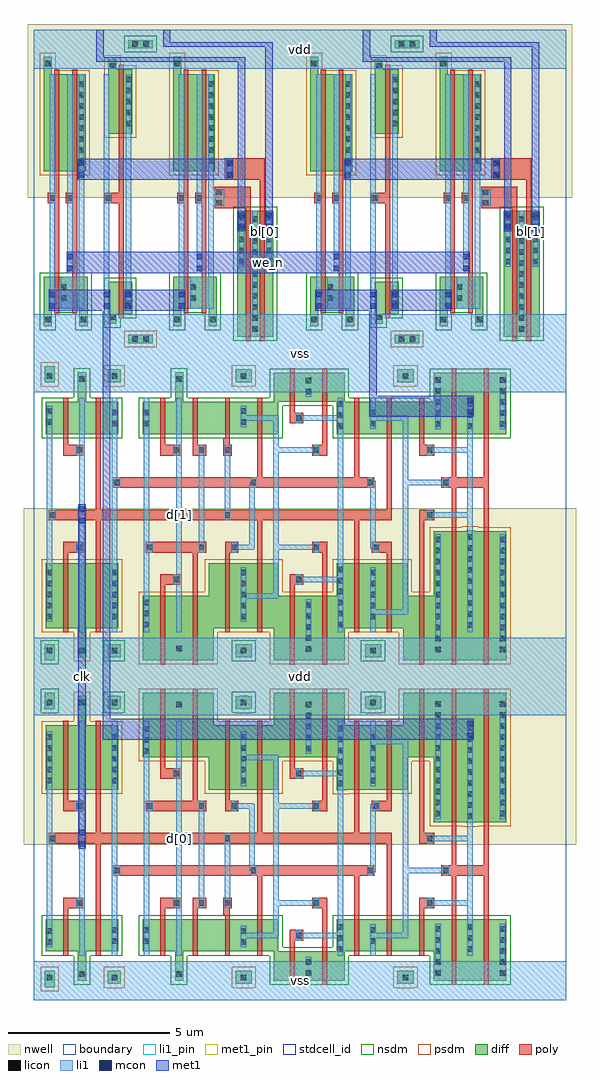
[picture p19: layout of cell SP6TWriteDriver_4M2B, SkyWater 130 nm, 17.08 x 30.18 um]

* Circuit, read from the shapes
.subckt SP6TWriteDriver_4M2B bl[0] bl[1] bl_n[0] bl_n[1] clk d[0] d[1] vdd vss we_n
XM1 nor2_x0_1/nq inv_x0_2/i vss VSUBS sky130_fd_pr__nfet_01v8 w=1 l=0.15
XM2 vss clk n1 VSUBS sky130_fd_pr__nfet_01v8 w=1 l=0.15
XM3 vss clk n2 VSUBS sky130_fd_pr__nfet_01v8 w=1 l=0.15
XM4 vss we_n nor2_x0_1/nq VSUBS sky130_fd_pr__nfet_01v8 w=1 l=0.15
XM5 n3 n1 vss VSUBS sky130_fd_pr__nfet_01v8 w=1 l=0.15
XM6 n4 n2 vss VSUBS sky130_fd_pr__nfet_01v8 w=1 l=0.15
XM7 nor2_x0_3/i0 inv_x0_2/i vss VSUBS sky130_fd_pr__nfet_01v8 w=1 l=0.15
XM8 vss d[0] n5 VSUBS sky130_fd_pr__nfet_01v8 w=1 l=0.15
XM9 vss d[1] n6 VSUBS sky130_fd_pr__nfet_01v8 w=1 l=0.15
XM10 nor2_x0_3/nq nor2_x0_3/i0 vss VSUBS sky130_fd_pr__nfet_01v8 w=1 l=0.15
XM11 n7 n5 vss VSUBS sky130_fd_pr__nfet_01v8 w=1 l=0.15
XM12 n8 n6 vss VSUBS sky130_fd_pr__nfet_01v8 w=1 l=0.15
XM13 vss we_n nor2_x0_3/nq VSUBS sky130_fd_pr__nfet_01v8 w=1 l=0.15
XM14 n9 n1 n7 VSUBS sky130_fd_pr__nfet_01v8 w=1 l=0.15
XM15 n10 n2 n8 VSUBS sky130_fd_pr__nfet_01v8 w=1 l=0.15
XM16 vss nor2_x0_3/nq bl_n[0] VSUBS sky130_fd_pr__nfet_01v8 w=3.9 l=0.15
XM17 n11 n3 n9 VSUBS sky130_fd_pr__nfet_01v8 w=1 l=0.15
XM18 n12 n4 n10 VSUBS sky130_fd_pr__nfet_01v8 w=1 l=0.15
XM19 bl[0] nor2_x0_1/nq vss VSUBS sky130_fd_pr__nfet_01v8 w=3.9 l=0.15
XM20 vss n13 n11 VSUBS sky130_fd_pr__nfet_01v8 w=0.9 l=0.15
XM21 vss n14 n12 VSUBS sky130_fd_pr__nfet_01v8 w=0.9 l=0.15
XM22 nor2_x0_5/nq inv_x0_6/i vss VSUBS sky130_fd_pr__nfet_01v8 w=1 l=0.15
XM23 n13 n9 vss VSUBS sky130_fd_pr__nfet_01v8 w=0.9 l=0.15
XM24 n14 n10 vss VSUBS sky130_fd_pr__nfet_01v8 w=0.9 l=0.15
XM25 vss we_n nor2_x0_5/nq VSUBS sky130_fd_pr__nfet_01v8 w=1 l=0.15
XM26 n15 n3 n13 VSUBS sky130_fd_pr__nfet_01v8 w=1 l=0.15
XM27 n16 n4 n14 VSUBS sky130_fd_pr__nfet_01v8 w=1 l=0.15
XM28 nor2_x0_7/i0 inv_x0_6/i vss VSUBS sky130_fd_pr__nfet_01v8 w=1 l=0.15
XM29 n17 n1 n15 VSUBS sky130_fd_pr__nfet_01v8 w=1 l=0.15
XM30 n18 n2 n16 VSUBS sky130_fd_pr__nfet_01v8 w=1 l=0.15
XM31 vss inv_x0_2/i n17 VSUBS sky130_fd_pr__nfet_01v8 w=1 l=0.15
XM32 vss inv_x0_6/i n18 VSUBS sky130_fd_pr__nfet_01v8 w=1 l=0.15
XM33 nor2_x0_7/nq nor2_x0_7/i0 vss VSUBS sky130_fd_pr__nfet_01v8 w=1 l=0.15
XM34 inv_x0_2/i n15 vss VSUBS sky130_fd_pr__nfet_01v8 w=1.9 l=0.15 m=2
XM35 inv_x0_6/i n16 vss VSUBS sky130_fd_pr__nfet_01v8 w=1.9 l=0.15 m=2
XM36 vss we_n nor2_x0_7/nq VSUBS sky130_fd_pr__nfet_01v8 w=1 l=0.15
XM37 vss nor2_x0_7/nq bl_n[1] VSUBS sky130_fd_pr__nfet_01v8 w=3.9 l=0.15
XM38 bl[1] nor2_x0_5/nq vss VSUBS sky130_fd_pr__nfet_01v8 w=3.9 l=0.15
XM39 n19 inv_x0_2/i vdd n20 sky130_fd_pr__pfet_01v8 w=3 l=0.15
XM40 vdd clk n1 n21 sky130_fd_pr__pfet_01v8 w=2 l=0.15
XM41 vdd clk n2 n21 sky130_fd_pr__pfet_01v8 w=2 l=0.15
XM42 nor2_x0_1/nq we_n n19 n20 sky130_fd_pr__pfet_01v8 w=3 l=0.15
XM43 n3 n1 vdd n21 sky130_fd_pr__pfet_01v8 w=2 l=0.15
XM44 n4 n2 vdd n21 sky130_fd_pr__pfet_01v8 w=2 l=0.15
XM45 nor2_x0_3/i0 inv_x0_2/i vdd n20 sky130_fd_pr__pfet_01v8 w=2 l=0.15
XM46 vdd d[0] n5 n21 sky130_fd_pr__pfet_01v8 w=2 l=0.15
XM47 vdd d[1] n6 n21 sky130_fd_pr__pfet_01v8 w=2 l=0.15
XM48 n22 nor2_x0_3/i0 vdd n20 sky130_fd_pr__pfet_01v8 w=3 l=0.15
XM49 n23 n5 vdd n21 sky130_fd_pr__pfet_01v8 w=2 l=0.15
XM50 n24 n6 vdd n21 sky130_fd_pr__pfet_01v8 w=2 l=0.15
XM51 nor2_x0_3/nq we_n n22 n20 sky130_fd_pr__pfet_01v8 w=3 l=0.15
XM52 n9 n3 n23 n21 sky130_fd_pr__pfet_01v8 w=2 l=0.15
XM53 n10 n4 n24 n21 sky130_fd_pr__pfet_01v8 w=2 l=0.15
XM54 n25 n1 n9 n21 sky130_fd_pr__pfet_01v8 w=2 l=0.15
XM55 n26 n2 n10 n21 sky130_fd_pr__pfet_01v8 w=2 l=0.15
XM56 vdd n13 n25 n21 sky130_fd_pr__pfet_01v8 w=2 l=0.15
XM57 vdd n14 n26 n21 sky130_fd_pr__pfet_01v8 w=2 l=0.15
XM58 n27 inv_x0_6/i vdd n20 sky130_fd_pr__pfet_01v8 w=3 l=0.15
XM59 n13 n9 vdd n21 sky130_fd_pr__pfet_01v8 w=2 l=0.15
XM60 n14 n10 vdd n21 sky130_fd_pr__pfet_01v8 w=2 l=0.15
XM61 nor2_x0_5/nq we_n n27 n20 sky130_fd_pr__pfet_01v8 w=3 l=0.15
XM62 n15 n1 n13 n21 sky130_fd_pr__pfet_01v8 w=2 l=0.15
XM63 n16 n2 n14 n21 sky130_fd_pr__pfet_01v8 w=2 l=0.15
XM64 nor2_x0_7/i0 inv_x0_6/i vdd n20 sky130_fd_pr__pfet_01v8 w=2 l=0.15
XM65 n28 n3 n15 n21 sky130_fd_pr__pfet_01v8 w=2 l=0.15
XM66 n29 n4 n16 n21 sky130_fd_pr__pfet_01v8 w=2 l=0.15
XM67 vdd inv_x0_2/i n28 n21 sky130_fd_pr__pfet_01v8 w=2 l=0.15
XM68 vdd inv_x0_6/i n29 n21 sky130_fd_pr__pfet_01v8 w=2 l=0.15
XM69 n30 nor2_x0_7/i0 vdd n20 sky130_fd_pr__pfet_01v8 w=3 l=0.15
XM70 inv_x0_2/i n15 vdd n21 sky130_fd_pr__pfet_01v8 w=4 l=0.15 m=2
XM71 inv_x0_6/i n16 vdd n21 sky130_fd_pr__pfet_01v8 w=4 l=0.15 m=2
XM72 nor2_x0_7/nq we_n n30 n20 sky130_fd_pr__pfet_01v8 w=3 l=0.15
.ends

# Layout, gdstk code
import gdstk
lib = gdstk.Library(unit=1e-6, precision=1e-09)
def R(c, l, rs):  # rectangles x0, y0, x1, y1
    for r in rs: c.add(gdstk.rectangle(r[:2], r[2:], *l))
def A(c, l, x, y, w, h, nx, ny, dx, dy):  # array of equal rectangles
    R(c, l, [(x+i*dx, y+j*dy, x+i*dx+w, y+j*dy+h) for i in range(nx) for j in range(ny)])
def P(c, l, *ps):  # polygons
    for p in ps: c.add(gdstk.Polygon(p, *l))
nwell = (64, 20)
diff = (65, 20)
poly = (66, 20)
licon = (66, 44)
li1_pin = (67, 16)
li1 = (67, 20)
mcon = (67, 44)
met1_pin = (68, 16)
met1 = (68, 20)
stdcell_id = (81, 4)
nsdm = (93, 44)
psdm = (94, 20)
boundary = (235, 4)

sff1_x4 = lib.new_cell('sff1_x4')
R(sff1_x4, nwell, [(-0.3,4.8,15.3,10.8)])
P(sff1_x4, diff, [(0.375,6.5),(0.375,8.5),(1.375,8.5),(1.375,9.405),(1.625,9.405),(1.625,8.5),(2.625,8.5),(2.625,6.5)],
  [(1.375,0.595),(1.375,1.5),(0.375,1.5),(0.375,2.5),(2.625,2.5),(2.625,1.5),(1.625,1.5),(1.625,0.595)],
  [(13.375,5.48),(13.375,5.5),(12.375,5.5),(12.375,7.5),(11.575,7.5),(11.575,6.5),(9.625,6.5),(9.625,6.49),(9.375,6.49),(9.375,7.5),(7.575,7.5),(7.575,6.5),(5.425,6.5),(5.425,7.5),(3.375,7.5),(3.375,9.5),(5.575,9.5),(5.575,8.5),(7.425,8.5),(7.425,9.5),(9.625,9.5),(9.625,8.5),(11.425,8.5),(11.425,9.5),(14.625,9.5),(14.625,5.5),(13.625,5.5),(13.625,5.48)],
  [(6.375,8.995),(6.375,9),(6.25,9),(6.25,9.4),(6.375,9.4),(6.375,9.405),(6.625,9.405),(6.625,9.4),(6.75,9.4),(6.75,9),(6.625,9),(6.625,8.995)],
  [(2.375,8.995),(2.375,9),(2.3,9),(2.3,9.4),(2.375,9.4),(2.375,9.405),(2.625,9.405),(2.625,9.4),(2.7,9.4),(2.7,9),(2.625,9),(2.625,8.995)],
  [(0.375,8.995),(0.375,9),(0.35,9),(0.35,9.5),(0.65,9.5),(0.65,9),(0.625,9),(0.625,8.995)],
  [(10.375,8.995),(10.375,9),(10.25,9),(10.25,9.4),(10.375,9.4),(10.375,9.405),(10.625,9.405),(10.625,9.4),(10.75,9.4),(10.75,9),(10.625,9),(10.625,8.995)],
  [(4.375,0.595),(4.375,1.5),(3.375,1.5),(3.375,2.5),(7.575,2.5),(7.575,1.5),(9.375,1.5),(9.375,2.5),(14.625,2.5),(14.625,0.6),(12.375,0.6),(12.375,1.5),(9.625,1.5),(9.625,0.6),(7.425,0.6),(7.425,1.5),(4.625,1.5),(4.625,0.595)],
  [(6.375,0.495),(6.375,0.5),(6.25,0.5),(6.25,0.9),(6.375,0.9),(6.375,0.905),(6.625,0.905),(6.625,0.9),(6.75,0.9),(6.75,0.5),(6.625,0.5),(6.625,0.495)],
  [(2.375,0.495),(2.375,0.5),(2.3,0.5),(2.3,0.9),(2.375,0.9),(2.375,0.905),(2.625,0.905),(2.625,0.9),(2.7,0.9),(2.7,0.5),(2.625,0.5),(2.625,0.495)],
  [(11.375,0.495),(11.375,0.5),(11.25,0.5),(11.25,0.9),(11.375,0.9),(11.375,0.905),(11.625,0.905),(11.625,0.9),(11.75,0.9),(11.75,0.5),(11.625,0.5),(11.625,0.495)],
  [(0.35,0.4),(0.35,0.9),(0.375,0.9),(0.375,0.905),(0.625,0.905),(0.625,0.9),(0.65,0.9),(0.65,0.4)])
P(sff1_x4, poly, [(5.925,1.37),(5.925,2.63),(5.865,2.63),(5.865,3.165),(6.135,3.165),(6.135,2.835),(6.075,2.835),(6.075,1.37)],
  [(1.925,1.37),(1.925,4.835),(0.465,4.835),(0.465,5.165),(1.925,5.165),(1.925,8.63),(2.075,8.63),(2.075,5.165),(6.925,5.165),(6.925,8.63),(7.075,8.63),(7.075,5.165),(9.925,5.165),(9.925,8.63),(10.075,8.63),(10.075,5.165),(11.075,5.165),(11.075,1.37),(10.925,1.37),(10.925,4.835),(2.075,4.835),(2.075,1.37)],
  [(0.925,5.835),(0.925,8.63),(1.075,8.63),(1.075,6.165),(1.535,6.165),(1.535,5.835)],
  [(0.925,1.37),(0.925,3.165),(1.535,3.165),(1.535,2.835),(1.075,2.835),(1.075,1.37)],
  [(8.925,0.47),(8.925,2.835),(8.615,2.835),(8.615,3.165),(9.075,3.165),(9.075,0.47)],
  [(8.615,5.835),(8.615,6.165),(8.925,6.165),(8.925,9.63),(9.075,9.63),(9.075,5.835)],
  [(5.925,5.835),(5.925,8.63),(6.075,8.63),(6.075,6.165),(6.335,6.165),(6.335,5.835)],
  [(10.465,5.835),(10.465,6.165),(10.925,6.165),(10.925,8.63),(11.075,8.63),(11.075,5.835)],
  [(6.925,1.37),(6.925,3.835),(2.465,3.835),(2.465,4.165),(10.535,4.165),(10.535,3.835),(10.075,3.835),(10.075,1.37),(9.925,1.37),(9.925,3.835),(7.075,3.835),(7.075,1.37)],
  [(7.925,0.47),(7.925,2.165),(8.335,2.165),(8.335,1.835),(8.075,1.835),(8.075,0.47)],
  [(7.925,6.835),(7.925,9.63),(8.075,9.63),(8.075,7.165),(8.335,7.165),(8.335,6.835)],
  [(12.925,0.47),(12.925,3.835),(12.615,3.835),(12.615,4.165),(12.925,4.165),(12.925,9.63),(13.075,9.63),(13.075,4.165),(13.925,4.165),(13.925,9.63),(14.075,9.63),(14.075,0.47),(13.925,0.47),(13.925,3.835),(13.075,3.835),(13.075,0.47)],
  [(3.465,5.835),(3.465,6.165),(4.925,6.165),(4.925,9.63),(5.075,9.63),(5.075,6.165),(5.335,6.165),(5.335,5.835)],
  [(4.925,1.37),(4.925,3.165),(5.335,3.165),(5.335,2.835),(5.075,2.835),(5.075,1.37)],
  [(3.925,6.835),(3.925,9.63),(4.075,9.63),(4.075,7.165),(4.535,7.165),(4.535,6.835)],
  [(3.925,1.37),(3.925,3.165),(4.535,3.165),(4.535,2.835),(4.075,2.835),(4.075,1.37)],
  [(11.925,1.37),(11.925,3.165),(12.385,3.165),(12.385,2.835),(12.075,2.835),(12.075,1.37)],
  [(11.925,4.835),(11.925,9.63),(12.075,9.63),(12.075,5.165),(12.385,5.165),(12.385,4.835)])
A(sff1_x4, licon, 12.415, 0.745, 0.17, 0.17, 1, 5, 0, 0.34)
A(sff1_x4, licon, 14.415, 0.745, 0.17, 0.17, 1, 5, 0, 0.34)
A(sff1_x4, licon, 9.415, 1.49, 0.17, 0.17, 1, 3, 0, 0.34)
A(sff1_x4, licon, 13.415, 1.49, 0.17, 0.17, 1, 3, 0, 0.34)
A(sff1_x4, licon, 4.315, 2.915, 0.17, 0.17, 3, 1, 0.8, 0)
A(sff1_x4, licon, 13.415, 5.6, 0.17, 0.17, 1, 9, 0, 0.34)
A(sff1_x4, licon, 12.415, 5.675, 0.17, 0.17, 1, 11, 0, 0.34)
A(sff1_x4, licon, 14.415, 5.675, 0.17, 0.17, 1, 11, 0, 0.34)
A(sff1_x4, licon, 9.415, 6.61, 0.17, 0.17, 1, 6, 0, 0.34)
A(sff1_x4, licon, 0.415, 6.695, 0.17, 0.17, 1, 5, 0, 0.34)
A(sff1_x4, licon, 2.415, 6.695, 0.17, 0.17, 3, 5, 4, 0.34)
A(sff1_x4, licon, 3.415, 7.62, 0.17, 0.17, 1, 3, 0, 0.34)
A(sff1_x4, licon, 8.415, 7.695, 0.17, 0.17, 1, 5, 0, 0.34)
A(sff1_x4, licon, 0.415, 9.115, 0.17, 0.17, 3, 1, 1, 0)
R(sff1_x4, licon, [(0.415,0.615,0.585,0.785), (2.415,0.615,2.585,0.785), (6.415,0.615,6.585,0.785), (11.415,0.615,11.585,0.785), (1.415,0.715,1.585,0.885), (4.415,0.715,4.585,0.885), (8.415,0.755,8.585,0.925), (8.415,1.095,8.585,1.265), (0.415,1.705,0.585,1.875), (6.415,1.705,6.585,1.875), (2.415,1.745,2.585,1.915), (3.415,1.745,3.585,1.915), (10.415,1.745,10.585,1.915), (8.115,1.915,8.285,2.085), (0.415,2.045,0.585,2.215), (6.415,2.045,6.585,2.215), (2.415,2.085,2.585,2.255), (3.415,2.085,3.585,2.255), (10.415,2.085,10.585,2.255), (1.315,2.915,1.485,3.085), (8.665,2.915,8.835,3.085), (12.165,2.915,12.335,3.085), (2.515,3.915,2.685,4.085), (6.715,3.915,6.885,4.085), (10.315,3.915,10.485,4.085), (12.665,3.915,12.835,4.085), (0.515,4.915,0.685,5.085), (5.915,4.915,6.085,5.085), (12.165,4.915,12.335,5.085), (1.315,5.915,1.485,6.085), (3.515,5.915,3.685,6.085), (5.115,5.915,5.285,6.085), (6.115,5.915,6.285,6.085), (8.665,5.915,8.835,6.085), (10.515,5.915,10.685,6.085), (4.315,6.915,4.485,7.085), (8.115,6.915,8.285,7.085), (4.415,9.045,4.585,9.215), (6.415,9.115,6.585,9.285), (10.415,9.115,10.585,9.285)])
R(sff1_x4, li1_pin, [(0,0,15,1.2), (1.415,1.37,1.585,8.63), (4.415,1.37,4.585,8.63), (13.415,1.37,13.585,8.63), (0,8.8,15,10)])
R(sff1_x4, li1, [(5.115,2.835,5.285,6.165), (5.915,2.835,6.085,5.165)])
P(sff1_x4, li1, [(0.415,1.625),(0.415,8.305),(0.585,8.305),(0.585,5.165),(0.685,5.165),(0.685,4.835),(0.585,4.835),(0.585,1.625)],
  [(12.415,5.595),(12.415,8.8),(8.585,8.8),(8.585,7.615),(8.415,7.615),(8.415,8.8),(0,8.8),(0,10),(15,10),(15,8.8),(14.585,8.8),(14.585,5.595),(14.415,5.595),(14.415,8.8),(12.585,8.8),(12.585,5.595)],
  [(1.415,1.37),(1.415,2.835),(1.315,2.835),(1.315,3.165),(1.415,3.165),(1.415,5.835),(1.315,5.835),(1.315,6.165),(1.415,6.165),(1.415,8.63),(1.585,8.63),(1.585,1.37)],
  [(0,0),(0,1.2),(8.415,1.2),(8.415,1.345),(8.585,1.345),(8.585,1.2),(12.415,1.2),(12.415,2.355),(12.585,2.355),(12.585,1.2),(14.415,1.2),(14.415,2.355),(14.585,2.355),(14.585,1.2),(15,1.2),(15,0)],
  [(6.415,1.625),(6.415,2.295),(6.585,2.295),(6.585,2.085),(7.415,2.085),(7.415,7.415),(6.585,7.415),(6.585,6.615),(6.415,6.615),(6.415,8.305),(6.585,8.305),(6.585,7.585),(7.55,7.585),(7.55,7.55),(7.585,7.55),(7.585,6.085),(8.665,6.085),(8.665,6.165),(8.835,6.165),(8.835,5.835),(8.665,5.835),(8.665,5.915),(7.585,5.915),(7.585,3.085),(8.665,3.085),(8.665,3.165),(8.835,3.165),(8.835,2.835),(8.665,2.835),(8.665,2.915),(7.585,2.915),(7.585,1.95),(7.55,1.95),(7.55,1.915),(6.585,1.915),(6.585,1.625)],
  [(6.715,3.835),(6.715,3.995),(6.665,3.995),(6.665,5.915),(6.285,5.915),(6.285,5.835),(6.115,5.835),(6.115,6.165),(6.285,6.165),(6.285,6.085),(6.8,6.085),(6.8,6.05),(6.835,6.05),(6.835,4.165),(6.885,4.165),(6.885,3.835)],
  [(2.415,1.37),(2.415,8.63),(2.585,8.63),(2.585,4.165),(2.685,4.165),(2.685,3.835),(2.585,3.835),(2.585,1.37)],
  [(10.315,3.835),(10.315,4.165),(10.415,4.165),(10.415,6.05),(10.515,6.05),(10.515,6.165),(10.685,6.165),(10.685,5.835),(10.585,5.835),(10.585,3.95),(10.485,3.95),(10.485,3.835)],
  [(9.415,1.37),(9.415,1.915),(8.285,1.915),(8.285,1.835),(8.115,1.835),(8.115,2.165),(8.285,2.165),(8.285,2.085),(9.415,2.085),(9.415,6.915),(8.285,6.915),(8.285,6.835),(8.115,6.835),(8.115,7.165),(8.285,7.165),(8.285,7.085),(9.415,7.085),(9.415,8.63),(9.585,8.63),(9.585,1.37)],
  [(10.415,1.37),(10.415,2.335),(10.585,2.335),(10.585,2.085),(11.415,2.085),(11.415,7.915),(10.585,7.915),(10.585,6.615),(10.415,6.615),(10.415,8.63),(10.585,8.63),(10.585,8.085),(11.55,8.085),(11.55,8.05),(11.585,8.05),(11.585,4.085),(12.665,4.085),(12.665,4.165),(12.835,4.165),(12.835,3.835),(12.665,3.835),(12.665,3.915),(11.585,3.915),(11.585,1.95),(11.55,1.95),(11.55,1.915),(10.585,1.915),(10.585,1.37)],
  [(3.415,1.37),(3.415,8.63),(3.585,8.63),(3.585,6.165),(3.685,6.165),(3.685,5.835),(3.585,5.835),(3.585,1.37)],
  [(4.415,1.37),(4.415,2.835),(4.315,2.835),(4.315,3.165),(4.415,3.165),(4.415,6.835),(4.315,6.835),(4.315,7.165),(4.415,7.165),(4.415,8.63),(4.585,8.63),(4.585,1.37)],
  [(13.415,1.37),(13.415,2.915),(12.335,2.915),(12.335,2.835),(12.165,2.835),(12.165,3.165),(12.335,3.165),(12.335,3.085),(13.415,3.085),(13.415,4.915),(12.335,4.915),(12.335,4.835),(12.165,4.835),(12.165,5.165),(12.335,5.165),(12.335,5.085),(13.415,5.085),(13.415,8.63),(13.585,8.63),(13.585,1.37)])
P(sff1_x4, nsdm, [(6.25,8.87),(6.25,8.875),(6.125,8.875),(6.125,9.525),(6.25,9.525),(6.25,9.53),(6.75,9.53),(6.75,9.525),(6.875,9.525),(6.875,8.875),(6.75,8.875),(6.75,8.87)],
  [(0.25,8.87),(0.25,8.875),(0.225,8.875),(0.225,9.625),(0.775,9.625),(0.775,8.875),(0.75,8.875),(0.75,8.87)],
  [(4.25,0.47),(4.25,1.375),(3.25,1.375),(3.25,2.625),(7.7,2.625),(7.7,1.625),(9.25,1.625),(9.25,2.625),(14.75,2.625),(14.75,0.475),(12.25,0.475),(12.25,1.375),(9.75,1.375),(9.75,0.475),(7.3,0.475),(7.3,1.375),(4.75,1.375),(4.75,0.47)],
  [(2.25,8.87),(2.25,8.875),(2.175,8.875),(2.175,9.525),(2.25,9.525),(2.25,9.53),(2.75,9.53),(2.75,9.525),(2.825,9.525),(2.825,8.875),(2.75,8.875),(2.75,8.87)],
  [(10.25,8.87),(10.25,8.875),(10.125,8.875),(10.125,9.525),(10.25,9.525),(10.25,9.53),(10.75,9.53),(10.75,9.525),(10.875,9.525),(10.875,8.875),(10.75,8.875),(10.75,8.87)],
  [(1.25,0.47),(1.25,1.375),(0.25,1.375),(0.25,2.625),(2.75,2.625),(2.75,1.375),(1.75,1.375),(1.75,0.47)])
P(sff1_x4, psdm, [(2.25,0.37),(2.25,0.375),(2.175,0.375),(2.175,1.025),(2.25,1.025),(2.25,1.03),(2.75,1.03),(2.75,1.025),(2.825,1.025),(2.825,0.375),(2.75,0.375),(2.75,0.37)],
  [(0.25,6.375),(0.25,8.625),(1.25,8.625),(1.25,9.53),(1.75,9.53),(1.75,8.625),(2.75,8.625),(2.75,6.375)],
  [(13.25,5.355),(13.25,5.375),(12.25,5.375),(12.25,7.375),(11.7,7.375),(11.7,6.375),(9.75,6.375),(9.75,6.365),(9.25,6.365),(9.25,7.375),(7.7,7.375),(7.7,6.375),(5.3,6.375),(5.3,7.375),(3.25,7.375),(3.25,9.625),(5.7,9.625),(5.7,8.625),(7.3,8.625),(7.3,9.625),(9.75,9.625),(9.75,8.625),(11.3,8.625),(11.3,9.625),(14.75,9.625),(14.75,5.375),(13.75,5.375),(13.75,5.355)],
  [(11.25,0.37),(11.25,0.375),(11.125,0.375),(11.125,1.025),(11.25,1.025),(11.25,1.03),(11.75,1.03),(11.75,1.025),(11.875,1.025),(11.875,0.375),(11.75,0.375),(11.75,0.37)],
  [(6.25,0.37),(6.25,0.375),(6.125,0.375),(6.125,1.025),(6.25,1.025),(6.25,1.03),(6.75,1.03),(6.75,1.025),(6.875,1.025),(6.875,0.375),(6.75,0.375),(6.75,0.37)],
  [(0.225,0.275),(0.225,1.025),(0.25,1.025),(0.25,1.03),(0.75,1.03),(0.75,1.025),(0.775,1.025),(0.775,0.275)])
sff1_x4.add(gdstk.Label('vdd', (7.5,9.4), layer=67, texttype=16))
sff1_x4.add(gdstk.Label('ck', (1.5,5), layer=67, texttype=16))
sff1_x4.add(gdstk.Label('vss', (7.5,0.6), layer=67, texttype=16))
sff1_x4.add(gdstk.Label('i', (4.5,5), layer=67, texttype=16))
sff1_x4.add(gdstk.Label('q', (13.5,5), layer=67, texttype=16))

nor2_x0 = lib.new_cell('nor2_x0')
R(nor2_x0, nwell, [(-0.18,4.8,2.18,10.18)])
P(nor2_x0, diff, [(0.315,0.83),(0.315,2.37),(1.67,2.37),(1.67,0.83),(1.42,0.83),(1.42,1.37),(0.565,1.37),(0.565,0.83)],
  [(0.315,5.63),(0.315,9.17),(0.565,9.17),(0.565,8.63),(1.61,8.63),(1.61,5.63)])
P(nor2_x0, poly, [(0.64,1.24),(0.64,4.635),(0.445,4.635),(0.445,4.965),(0.64,4.965),(0.64,8.76),(0.79,8.76),(0.79,1.24)],
  [(1.195,1.24),(1.195,4.635),(1,4.635),(1,4.965),(1.195,4.965),(1.195,8.76),(1.345,8.76),(1.345,1.24)])
A(nor2_x0, licon, 1.4, 5.855, 0.17, 0.17, 1, 8, 0, 0.34)
R(nor2_x0, licon, [(0.355,0.95,0.525,1.12), (1.46,0.95,1.63,1.12), (0.845,1.615,1.015,1.785), (0.845,1.955,1.015,2.125), (0.495,4.715,0.665,4.885), (1.05,4.715,1.22,4.885), (0.355,8.88,0.525,9.05)])
R(nor2_x0, li1_pin, [(0,0,2,1.2), (0.495,1.37,0.665,8.63), (1.4,1.37,1.57,8.63), (1.05,2.54,1.22,8.63), (0,8.8,2,10)])
R(nor2_x0, li1, [(0,0,2,1.2), (0.495,1.37,0.665,8.63), (1.05,2.54,1.22,8.63), (0,8.8,2,10)])
P(nor2_x0, li1, [(0.845,1.37),(0.845,2.37),(1.4,2.37),(1.4,8.63),(1.57,8.63),(1.57,1.37)])
P(nor2_x0, nsdm, [(0.19,0.705),(0.19,2.495),(1.795,2.495),(1.795,0.705),(1.295,0.705),(1.295,1.245),(0.69,1.245),(0.69,0.705)])
P(nor2_x0, psdm, [(0.19,5.505),(0.19,9.295),(0.69,9.295),(0.69,8.755),(1.735,8.755),(1.735,5.505)])
nor2_x0.add(gdstk.Label('vss', (1,0.6), layer=67, texttype=16))
nor2_x0.add(gdstk.Label('vdd', (1,9.4), layer=67, texttype=16))
nor2_x0.add(gdstk.Label('nq', (1.485,5), layer=67, texttype=16))
nor2_x0.add(gdstk.Label('i0', (0.58,5), layer=67, texttype=16))
nor2_x0.add(gdstk.Label('i1', (1.135,5.585), layer=67, texttype=16))

inv_x0 = lib.new_cell('inv_x0')
R(inv_x0, nwell, [(-0.18,4.8,2.18,10.18)])
R(inv_x0, diff, [(0.935,0.315,1.685,0.565), (0.935,9.435,1.685,9.685)])
P(inv_x0, diff, [(0.315,0.91),(0.315,2.205),(1.055,2.205),(1.055,1.205),(0.565,1.205),(0.565,0.91)],
  [(0.315,6.785),(0.315,9.09),(0.565,9.09),(0.565,8.785),(1.055,8.785),(1.055,6.785)])
P(inv_x0, poly, [(0.64,1.075),(0.64,4.635),(0.205,4.635),(0.205,4.965),(0.64,4.965),(0.64,8.915),(0.79,8.915),(0.79,1.075)])
A(inv_x0, licon, 0.845, 7.02, 0.17, 0.17, 1, 5, 0, 0.34)
R(inv_x0, licon, [(1.055,0.355,1.225,0.525), (1.395,0.355,1.565,0.525), (0.355,1.03,0.525,1.2), (0.845,1.45,1.015,1.62), (0.845,1.79,1.015,1.96), (0.255,4.715,0.425,4.885), (0.355,8.8,0.525,8.97), (1.055,9.475,1.225,9.645), (1.395,9.475,1.565,9.645)])
R(inv_x0, li1_pin, [(0,0,2,1.2), (0.17,1.37,0.34,8.63), (0.845,1.37,1.015,8.63), (0,8.8,2,10)])
R(inv_x0, li1, [(0,0,2,1.2), (0.845,1.37,1.015,8.63), (0,8.8,2,10)])
P(inv_x0, li1, [(0.17,1.37),(0.17,8.63),(0.34,8.63),(0.34,4.965),(0.425,4.965),(0.425,4.635),(0.34,4.635),(0.34,1.37)])
R(inv_x0, nsdm, [(0.81,9.31,1.81,9.81)])
P(inv_x0, nsdm, [(0.19,0.785),(0.19,2.33),(1.18,2.33),(1.18,1.08),(0.69,1.08),(0.69,0.785)])
R(inv_x0, psdm, [(0.81,0.19,1.81,0.69)])
P(inv_x0, psdm, [(0.19,6.66),(0.19,9.215),(0.69,9.215),(0.69,8.91),(1.18,8.91),(1.18,6.66)])
inv_x0.add(gdstk.Label('i', (0.255,5), layer=67, texttype=16))
inv_x0.add(gdstk.Label('vss', (1,0.6), layer=67, texttype=16))
inv_x0.add(gdstk.Label('vdd', (1,9.4), layer=67, texttype=16))
inv_x0.add(gdstk.Label('nq', (0.93,5), layer=67, texttype=16))

sp6twritedriver_4m2b = lib.new_cell('SP6TWriteDriver_4M2B')
R(sp6twritedriver_4m2b, nwell, [(-0.3,4.8,16.78,15.2), (-0.18,24.8,16.66,30.18)])
R(sp6twritedriver_4m2b, diff, [(6.3,20.505,7.41,24.405), (14.54,20.505,15.65,24.405)])
P(sp6twritedriver_4m2b, poly, [(6.995,20.375),(6.995,25.36),(5.92,25.36),(5.92,26.03),(7.145,26.03),(7.145,20.375)],
  [(6.565,20.375),(6.565,24.48),(5.6,24.48),(5.6,25.15),(6.715,25.15),(6.715,20.375)],
  [(15.235,20.375),(15.235,25.36),(14.16,25.36),(14.16,26.03),(15.385,26.03),(15.385,20.375)],
  [(14.805,20.375),(14.805,24.48),(13.84,24.48),(13.84,25.15),(14.955,25.15),(14.955,20.375)])
A(sp6twritedriver_4m2b, licon, 6.77, 20.67, 0.17, 0.17, 1, 11, 0, 0.34)
A(sp6twritedriver_4m2b, licon, 15.01, 20.67, 0.17, 0.17, 1, 11, 0, 0.34)
A(sp6twritedriver_4m2b, licon, 6.34, 22.755, 0.17, 0.17, 1, 5, 0, 0.34)
A(sp6twritedriver_4m2b, licon, 7.2, 22.755, 0.17, 0.17, 1, 5, 0, 0.34)
A(sp6twritedriver_4m2b, licon, 14.58, 22.755, 0.17, 0.17, 1, 5, 0, 0.34)
A(sp6twritedriver_4m2b, licon, 15.44, 22.755, 0.17, 0.17, 1, 5, 0, 0.34)
R(sp6twritedriver_4m2b, licon, [(5.65,24.56,5.82,24.73), (13.89,24.56,14.06,24.73), (5.65,24.9,5.82,25.07), (13.89,24.9,14.06,25.07), (5.97,25.44,6.14,25.61), (14.21,25.44,14.38,25.61), (5.97,25.78,6.14,25.95), (14.21,25.78,14.38,25.95)])
R(sp6twritedriver_4m2b, li1_pin, [(0,0,16.48,1.2), (4.415,1.37,4.585,8.63), (0,8.8,16.48,11.2), (4.415,11.37,4.585,18.63), (0,18.8,16.48,21.2), (0,28.8,16.48,30)])
R(sp6twritedriver_4m2b, li1, [(0,0,16.48,1.2), (4.415,1.37,4.585,8.63), (1.415,4.735,1.585,5.265), (13.415,8.1,13.585,8.63), (0,8.8,16.48,11.2), (4.415,11.37,4.585,18.63), (1.415,14.735,1.585,15.265), (13.415,18.1,13.585,18.63), (0.495,21.37,0.665,21.9), (2.17,21.37,2.34,21.9), (2.845,21.37,3.015,21.9), (4.495,21.37,4.665,21.9), (8.735,21.37,8.905,21.9), (10.41,21.37,10.58,21.9), (11.085,21.37,11.255,21.9), (12.735,21.37,12.905,21.9), (1.05,22.54,1.22,23.07), (5.05,22.54,5.22,23.07), (9.29,22.54,9.46,23.07), (13.29,22.54,13.46,23.07), (6.34,22.675,6.51,24.365), (7.2,22.675,7.37,24.365), (14.58,22.675,14.75,24.365), (15.44,22.675,15.61,24.365), (5.57,24.56,5.9,25.07), (13.81,24.56,14.14,25.07), (5.97,25.36,6.14,26.03), (14.21,25.36,14.38,26.03), (1.4,25.43,1.57,25.96), (9.64,25.43,9.81,25.96), (0,28.8,16.48,30)])
P(sp6twritedriver_4m2b, li1, [(0,18.8),(0,21.2),(6.77,21.2),(6.77,24.405),(6.94,24.405),(6.94,21.2),(15.01,21.2),(15.01,24.405),(15.18,24.405),(15.18,21.2),(16.48,21.2),(16.48,18.8)])
R(sp6twritedriver_4m2b, mcon, [(1.415,4.735,1.585,4.905), (1.415,5.095,1.585,5.265), (13.415,8.1,13.585,8.27), (13.415,8.46,13.585,8.63), (1.415,14.735,1.585,14.905), (1.415,15.095,1.585,15.265), (13.415,18.1,13.585,18.27), (13.415,18.46,13.585,18.63), (0.495,21.37,0.665,21.54), (2.17,21.37,2.34,21.54), (2.845,21.37,3.015,21.54), (4.495,21.37,4.665,21.54), (8.735,21.37,8.905,21.54), (10.41,21.37,10.58,21.54), (11.085,21.37,11.255,21.54), (12.735,21.37,12.905,21.54), (0.495,21.73,0.665,21.9), (2.17,21.73,2.34,21.9), (2.845,21.73,3.015,21.9), (4.495,21.73,4.665,21.9), (8.735,21.73,8.905,21.9), (10.41,21.73,10.58,21.9), (11.085,21.73,11.255,21.9), (12.735,21.73,12.905,21.9), (1.05,22.54,1.22,22.71), (5.05,22.54,5.22,22.71), (9.29,22.54,9.46,22.71), (13.29,22.54,13.46,22.71), (1.05,22.9,1.22,23.07), (5.05,22.9,5.22,23.07), (9.29,22.9,9.46,23.07), (13.29,22.9,13.46,23.07), (6.34,23.835,6.51,24.005), (7.2,23.835,7.37,24.005), (14.58,23.835,14.75,24.005), (15.44,23.835,15.61,24.005), (6.34,24.195,6.51,24.365), (7.2,24.195,7.37,24.365), (14.58,24.195,14.75,24.365), (15.44,24.195,15.61,24.365), (1.4,25.43,1.57,25.6), (5.97,25.43,6.14,25.6), (9.64,25.43,9.81,25.6), (14.21,25.43,14.38,25.6), (1.4,25.79,1.57,25.96), (5.97,25.79,6.14,25.96), (9.64,25.79,9.81,25.96), (14.21,25.79,14.38,25.96)])
R(sp6twritedriver_4m2b, met1_pin, [(1.385,4.675,1.615,15.325), (1.02,22.48,13.49,23.13)])
P(sp6twritedriver_4m2b, met1_pin, [(7.17,23.775),(7.17,29.47),(4.005,29.47),(4.005,30),(4.235,30),(4.235,29.61),(7.4,29.61),(7.4,23.775)],
  [(6.31,23.775),(6.31,29.01),(1.945,29.01),(1.945,30),(2.175,30),(2.175,29.15),(6.54,29.15),(6.54,23.775)],
  [(15.41,23.775),(15.41,29.47),(12.245,29.47),(12.245,30),(12.475,30),(12.475,29.61),(15.64,29.61),(15.64,23.775)],
  [(14.55,23.775),(14.55,29.01),(10.185,29.01),(10.185,30),(10.415,30),(10.415,29.15),(14.78,29.15),(14.78,23.775)])
R(sp6twritedriver_4m2b, met1, [(1.385,4.675,1.615,15.325), (2.815,21.31,4.695,21.96), (11.055,21.31,12.935,21.96), (1.02,22.48,13.49,23.13), (1.37,25.37,6.17,26.02), (9.61,25.37,14.41,26.02)])
P(sp6twritedriver_4m2b, met1, [(7.17,23.775),(7.17,29.47),(4.005,29.47),(4.005,30),(4.235,30),(4.235,29.61),(7.4,29.61),(7.4,23.775)],
  [(6.31,23.775),(6.31,29.01),(1.945,29.01),(1.945,30),(2.175,30),(2.175,29.15),(6.54,29.15),(6.54,23.775)],
  [(2.14,8.04),(2.14,21.31),(0.465,21.31),(0.465,21.96),(2.37,21.96),(2.37,8.69),(13.615,8.69),(13.615,8.04)],
  [(15.41,23.775),(15.41,29.47),(12.245,29.47),(12.245,30),(12.475,30),(12.475,29.61),(15.64,29.61),(15.64,23.775)],
  [(14.55,23.775),(14.55,29.01),(10.185,29.01),(10.185,30),(10.415,30),(10.415,29.15),(14.78,29.15),(14.78,23.775)],
  [(10.38,18.04),(10.38,21.31),(8.705,21.31),(8.705,21.96),(10.61,21.96),(10.61,18.69),(13.615,18.69),(13.615,18.04)])
R(sp6twritedriver_4m2b, stdcell_id, [(6.56,20.5,6.72,24.41), (6.99,20.5,7.15,24.41), (14.8,20.5,14.96,24.41), (15.23,20.5,15.39,24.41)])
R(sp6twritedriver_4m2b, nsdm, [(6.175,20.38,7.535,24.53), (14.415,20.38,15.775,24.53)])
R(sp6twritedriver_4m2b, boundary, [(0,0,16.48,30)])
sp6twritedriver_4m2b.add(gdstk.Reference(sff1_x4, (0,0)))
sp6twritedriver_4m2b.add(gdstk.Reference(nor2_x0, (0,20)))
sp6twritedriver_4m2b.add(gdstk.Reference(inv_x0, (2,20)))
sp6twritedriver_4m2b.add(gdstk.Reference(nor2_x0, (4,20)))
sp6twritedriver_4m2b.add(gdstk.Reference(sff1_x4, (0,20), x_reflection=True))
sp6twritedriver_4m2b.add(gdstk.Reference(nor2_x0, (8.24,20)))
sp6twritedriver_4m2b.add(gdstk.Reference(inv_x0, (10.24,20)))
sp6twritedriver_4m2b.add(gdstk.Reference(nor2_x0, (12.24,20)))
sp6twritedriver_4m2b.add(gdstk.Label('bl[0]', (7.17,23.775), layer=68, texttype=16))
sp6twritedriver_4m2b.add(gdstk.Label('bl_n[0]', (6.31,23.775), layer=68, texttype=16))
sp6twritedriver_4m2b.add(gdstk.Label('clk', (1.5,10), layer=68, texttype=16))
sp6twritedriver_4m2b.add(gdstk.Label('we_n', (7.255,22.805), layer=68, texttype=16))
sp6twritedriver_4m2b.add(gdstk.Label('bl[1]', (15.41,23.775), layer=68, texttype=16))
sp6twritedriver_4m2b.add(gdstk.Label('bl_n[1]', (14.55,23.775), layer=68, texttype=16))
sp6twritedriver_4m2b.add(gdstk.Label('vss', (8.24,0.6), layer=67, texttype=16))
sp6twritedriver_4m2b.add(gdstk.Label('vss', (8.24,20), layer=67, texttype=16))
sp6twritedriver_4m2b.add(gdstk.Label('vdd', (8.24,10), layer=67, texttype=16))
sp6twritedriver_4m2b.add(gdstk.Label('vdd', (8.24,29.4), layer=67, texttype=16))
sp6twritedriver_4m2b.add(gdstk.Label('d[0]', (4.5,5), layer=67, texttype=16))
sp6twritedriver_4m2b.add(gdstk.Label('d[1]', (4.5,15), layer=67, texttype=16))

lib.write_gds('SP6TWriteDriver_4M2B.gds')
